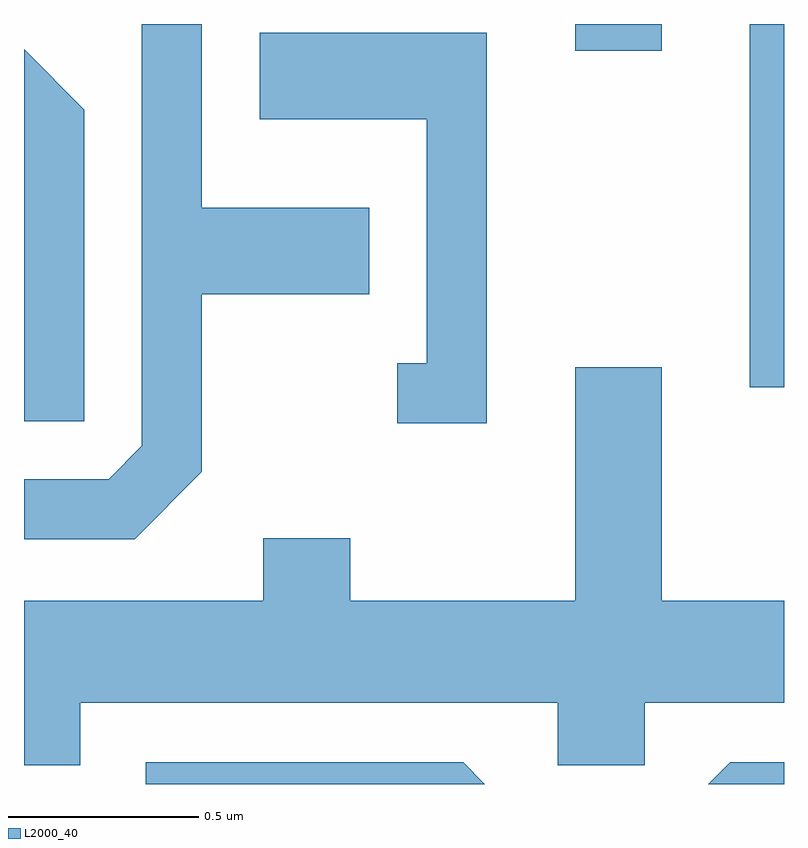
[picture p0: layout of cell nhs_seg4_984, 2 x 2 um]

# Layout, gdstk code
import gdstk
lib = gdstk.Library(unit=1e-6, precision=1e-09)
def R(c, l, rs):  # rectangles x0, y0, x1, y1
    for r in rs: c.add(gdstk.rectangle(r[:2], r[2:], *l))
def P(c, l, *ps):  # polygons
    for p in ps: c.add(gdstk.Polygon(p, *l))
L2000_40 = (2000, 40)

nhs_seg4_984 = lib.new_cell('nhs_seg4_984')
R(nhs_seg4_984, L2000_40, [(194.521,1280.026,194.611,1280.982), (194.061,1280.911,194.289,1280.982)])
P(nhs_seg4_984, L2000_40, [(193.079,1279.804),(193.079,1280.271),(193.519,1280.271),(193.519,1280.499),(193.079,1280.499),(193.079,1280.982),(192.921,1280.982),(192.921,1279.872),(192.834,1279.784),(192.611,1279.784),(192.611,1279.626),(192.902,1279.626)],
  [(193.829,1280.959),(193.231,1280.959),(193.231,1280.731),(193.671,1280.731),(193.671,1280.089),(193.593,1280.089),(193.593,1279.931),(193.829,1279.931)],
  [(192.769,1280.757),(192.611,1280.915),(192.611,1279.936),(192.769,1279.936)],
  [(192.759,1279.196),(194.016,1279.196),(194.016,1279.031),(194.244,1279.031),(194.244,1279.196),(194.611,1279.196),(194.611,1279.464),(194.289,1279.464),(194.289,1280.079),(194.061,1280.079),(194.061,1279.464),(193.469,1279.464),(193.469,1279.629),(193.241,1279.629),(193.241,1279.464),(192.611,1279.464),(192.611,1279.031),(192.759,1279.031)],
  [(194.611,1279.039),(194.469,1279.039),(194.412,1278.982),(194.611,1278.982)],
  [(193.767,1279.039),(192.931,1279.039),(192.931,1278.982),(193.824,1278.982)])

lib.write_gds('nhs_seg4_984.gds')
